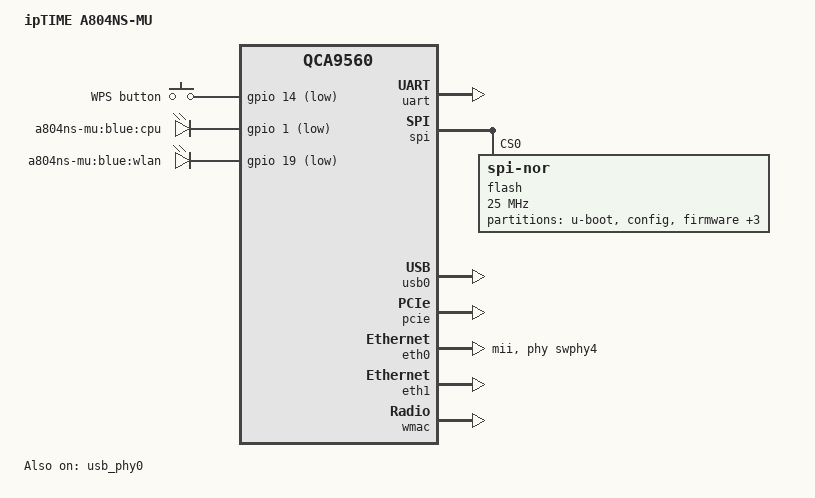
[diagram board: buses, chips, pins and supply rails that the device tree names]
// SPDX-License-Identifier: GPL-2.0+ OR MIT
/dts-v1/;

#include <dt-bindings/gpio/gpio.h>
#include <dt-bindings/input/input.h>

#include "qca956x.dtsi"

/ {
	compatible = "iptime,a804ns-mu", "qca,qca9560";
	model = "ipTIME A804NS-MU";

	aliases {
		led-boot = &led_cpu;
		led-failsafe = &led_cpu;
		led-running = &led_cpu;
		led-upgrade = &led_cpu;
	};

	chosen {
		bootargs = "console=ttyS0,115200n8";
	};

	keys {
		compatible = "gpio-keys";

		wps {
			label = "WPS button";
			gpios = <&gpio 14 GPIO_ACTIVE_LOW>;
			linux,code = <KEY_WPS_BUTTON>;
			debounce-interval = <60>;
		};
	};

	leds {
		compatible = "gpio-leds";

		led_cpu: cpu {
			label = "a804ns-mu:blue:cpu";
			gpios = <&gpio 1 GPIO_ACTIVE_LOW>;
		};

		wlan {
			label = "a804ns-mu:blue:wlan";
			gpios = <&gpio 19 GPIO_ACTIVE_LOW>;
			linux,default-trigger = "phy1tpt";
		};
	};
};

&uart {
	status = "okay";
};

&gpio {
	status = "okay";
};

&spi {
	status = "okay";
	num-cs = <1>;

	flash@0 {
		compatible = "jedec,spi-nor";
		reg = <0>;
		spi-max-frequency = <25000000>;

		partitions {
			compatible = "fixed-partitions";
			#address-cells = <1>;
			#size-cells = <1>;

			partition@0 {
				label = "u-boot";
				reg = <0x000000 0x30000>;
				read-only;
			};

			partition@30000 {
				label = "config";
				reg = <0x030000 0x10000>;
				read-only;
			};

			partition@40000 {
				label = "firmware";
				reg = <0x40000 0xfb0000>;

				compatible = "fixed-partitions";
				#address-cells = <1>;
				#size-cells = <1>;

				partition@0 {
					label = "kernel";
					reg = <0x0 0x200000>;
				};

				partition@200000 {
					label = "rootfs";
					reg = <0x200000 0xdb0000>;
				};
			};

			art: partition@ff0000 {
				label = "art";
				reg = <0xff0000 0x10000>;
				read-only;
			};
		};
	};
};

&usb0 {
	#address-cells = <1>;
	#size-cells = <0>;
	status = "okay";

	hub_port: port@1 {
		reg = <1>;
		#trigger-source-cells = <0>;
	};
};

&usb_phy0 {
	status = "okay";
};

&pcie {
	status = "okay";
};

&eth0 {
	status = "okay";

	phy-mode = "mii";
	phy-handle = <&swphy4>;

	mtd-mac-address = <&art 0x0>;
};

&eth1 {
	status = "okay";

	mtd-mac-address = <&art 0x6>;
};

&wmac {
	status = "okay";

	mtd-cal-data = <&art 0x1000>;
};
